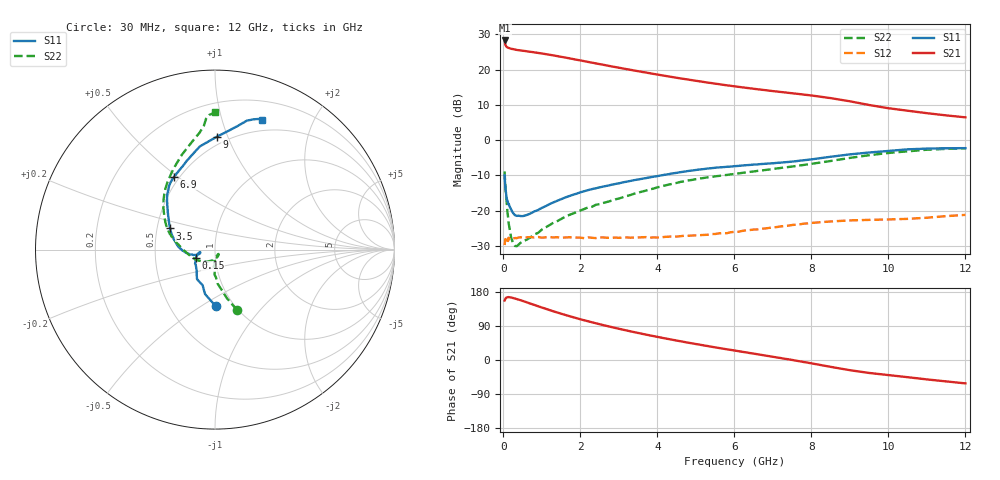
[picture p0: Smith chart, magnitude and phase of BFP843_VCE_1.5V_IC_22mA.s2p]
! Infineon Technologies  Discrete & RF Semiconductors
! BFP843
! VCE =  1.5 V,  IC =  22 mA
! Common Emitter S-Parameters:  Aug 2013
# GHz  S  MA  R  50
!  f  S11  S21  S12  S22
! GHz  MAG  ANG  MAG  ANG  MAG  ANG  MAG  ANG
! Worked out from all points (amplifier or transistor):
!   103 points, 30 MHz to 12 GHz, reference 50 ohm
!   highest |S21| = 28.3 dB at 30 MHz (marker M1)
!   |S21| within 3 dB of that: start of sweep to 559.1 MHz
!   unconditionally stable (mu >= 1): 113.5 MHz to 129.4 MHz; 131 MHz to 10.83 GHz
!   at 400 MHz: K = 1.02, MAG = 25.7 dB, |S12| = -27.6 dB
!   at 3.7 GHz: K = 1.36, MAG = 19.8 dB, |S12| = -27.5 dB
!   at 12 GHz: K = 0.87, MSG = 13.8 dB, |S12| = -21.2 dB
!   S11 on the Smith chart (normalised r, x): 30 MHz: 0.83, -0.58; 150 MHz: 0.80, -0.08; 3.5 GHz: 0.59, +0.15; 6.9 GHz: 0.47, +0.49; 9 GHz: 0.44, +0.91; 12 GHz: 0.38, +1.35
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0.03  0.3144 -89.4  25.95 156.9  0.0325 26.8  0.3599 -69.9
0.04  0.2539 -102.6  23.82 158.9  0.0368 19.8  0.2784 -76.3
0.05  0.2102 -109.2  22.7 161.9  0.0395 19.0  0.2266 -80.7
0.07  0.1717 -126.4  21.37 164.1  0.0385 16.6  0.1565 -87.8
0.1  0.1366 -141.7  20.71 165.6  0.0405 14.2  0.1009 -94.9
0.15  0.1178 -155.6  20.21 165.7  0.0402 6.5  0.0599 -92.9
0.3  0.0861 -170.1  19.26 162.3  0.0408 5.3  0.0315 -62.1
0.8  0.0971 -163.8  17.61 145.4  0.0416 2.5  0.046 -77.8
1.2  0.1238 -165.8  16.26 131.7  0.0419 1.4  0.0624 -105.3
1.6  0.1531 -172.0  14.88 119.1  0.0416 0.8  0.0818 -124.7
2.1  0.1887 179.2  13.18 104.7  0.0407 1.7  0.1055 -144.0
2.4  0.2074 174.8  12.27 96.9  0.0407 0.9  0.121 -152.3
2.8  0.2321 167.1  11.15 87.1  0.0411 1.8  0.1381 -163.8
3.5  0.2767 154.8  9.509 71.3  0.0416 3.3  0.1796 179.4
4.1  0.3161 145.2  8.339 59.0  0.0419 5.1  0.2209 168.7
5  0.3772 135.0  6.95 42.1  0.0446 8.0  0.2792 158.4
6.1  0.4308 126.8  5.709 23.4  0.0501 11.0  0.3367 146.8
6.9  0.4664 119.2  5.04 10.2  0.0568 9.8  0.3825 138.4
8.5  0.5809 98.4  3.945 -18.1  0.0702 1.4  0.5059 117.3
9  0.6282 89.2  3.558 -26.9  0.0726 -2.3  0.5596 109.3
10.5  0.7403 76.1  2.614 -45.4  0.0764 -9.3  0.6935 95.1
12  0.7699 70.1  2.106 -61.7  0.087 -16.0  0.7643 90.0
